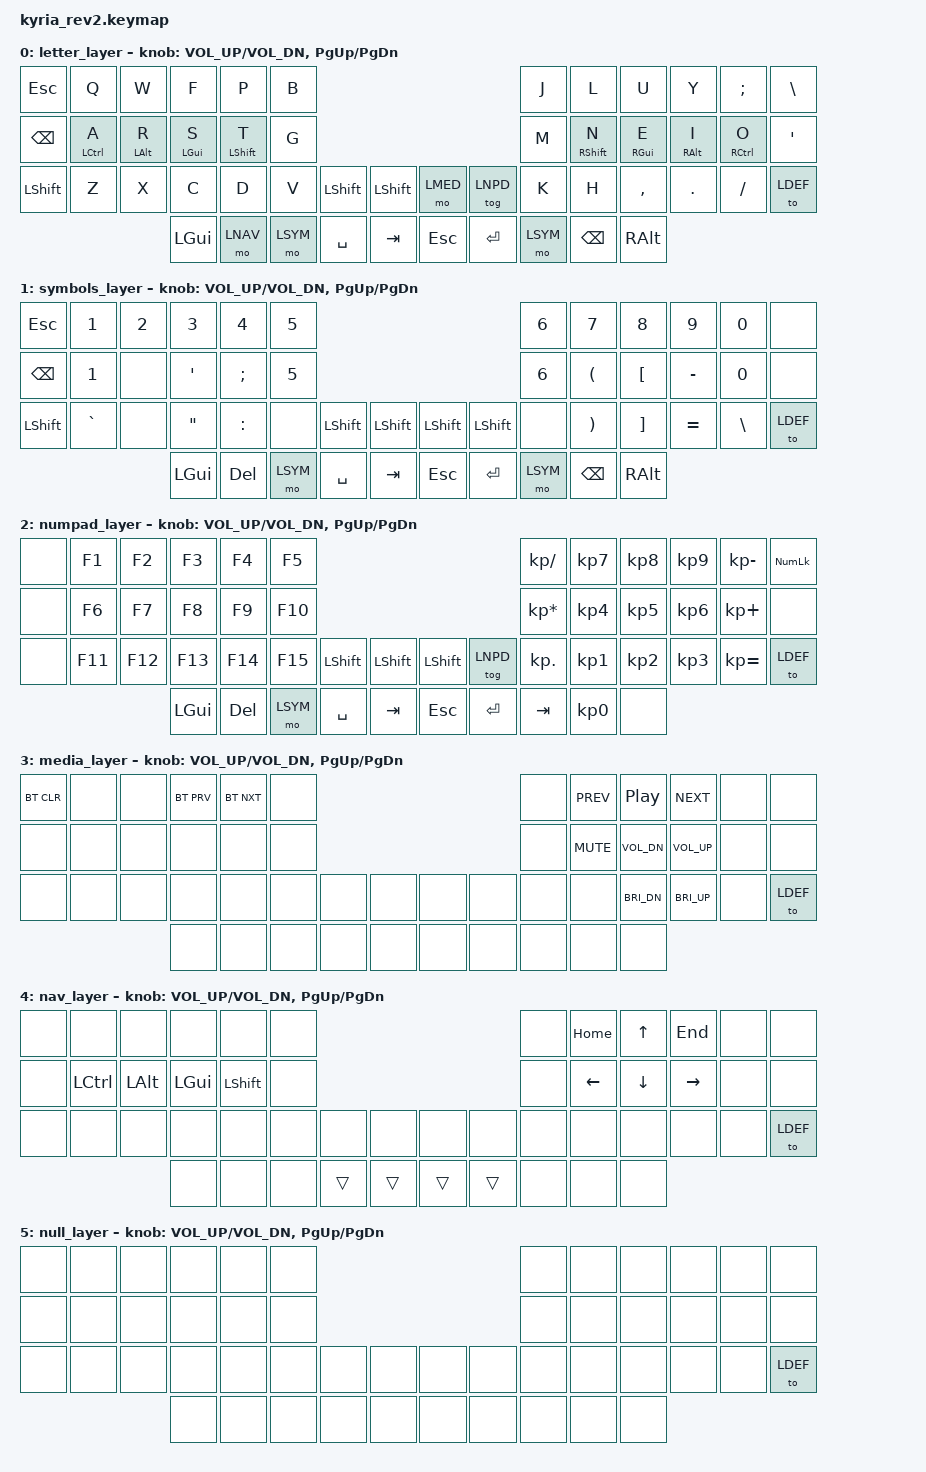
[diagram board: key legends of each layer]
/*
 * Copyright (c) 2020 The ZMK Contributors
 *
 * SPDX-License-Identifier: MIT
 */

#include <behaviors.dtsi>
#include <dt-bindings/zmk/keys.h>
#include <dt-bindings/zmk/bt.h>

#define LLTR 0
#define LSYM 1
#define LNPD 2
#define LMED 3
#define LNAV 4
#define LNUL 5

#define LDEF 0

/ {
    behaviors {
      hm: homerow-mod {
        compatible = "zmk,behavior-hold-tap";
        label = "HOMEROW_MOD";
        #binding-cells = <2>;
        tapping_term_ms = <150>; // <200>;
        quick_tap_ms = <0>;
        flavor = "tap-preferred"; // "balanced";
        bindings = <&kp>, <&kp>;
      };

//      moto: momentary-layer {
//        compatible = "zmk,behavior-hold-tap";
//        label = "LAYER_HOLD";
//        #binding-cells = <2>;
//        flavor = "hold-preferred";
//        tapping_term_ms = <150>; // <200>;
//        bindings = <&mo>, <&tog>;
//      };
    };

    keymap {
        compatible = "zmk,keymap";

        letter_layer {
// -------------------------------------------------------------------------------------------------------------------------------------------------------------------------------
// |  ESC    |  Q        |  W       |  F       |  P        |   B    |                                           |   J    |  L        |  L       |  Y       |   ;       |   \     |
// | BSPC    |  A/LCTRL  |  R/LALT  |  S/LGUI  |  T/LSHFT  |   G    |                                           |   M    |  N/RSHFT  |  E/RGUI  |  I/RALT  | O/RCTRL   |   '     |
// | SHIFT   |  Z        |  X       |  C       |  D        |   V    | L SHIFT | L SHIFT |   |  LMED  | LNPD     |   K    |  H        |  ,       |  .       |   /       | LDEF    |
//                                  | GUI      | DEL       |  LSYM  |  SPACE  |   TAB   |   |  ESC   | RET      |  LSYM  |  BSPC     |   R-ALT  |
            bindings = <
    &kp ESC   &kp Q       &kp W      &kp F      &kp P       &kp B                                                &kp J    &kp L       &kp U      &kp Y      &kp SEMI    &kp BSLH
    &kp BSPC  &hm LCTRL A &hm LALT R &hm LGUI S &hm LSHFT T &kp G                                                &kp M    &hm RSHFT N &hm RGUI E &hm RALT I &hm RCTRL O &kp SQT
    &kp LSHFT &kp Z       &kp X      &kp C      &kp D       &kp V    &kp LSHFT &kp LSHFT     &mo LMED &tog LNPD  &kp K    &kp H       &kp COMMA  &kp DOT    &kp FSLH    &to LDEF
                                     &kp LGUI   &mo LNAV    &mo LSYM &kp SPACE &kp TAB       &kp ESC  &kp RET    &mo LSYM &kp BSPC    &kp RALT
            >;

            sensor-bindings = <&inc_dec_kp C_VOL_UP C_VOL_DN &inc_dec_kp PG_UP PG_DN>;
        };

        symbols_layer {
// -----------------------------------------------------------------------------------------------------------------------------------------------------------
// |  ESC    |    1    |  2   |   3   |    4    |    5    |                                           |   6    |   7    |   8    |    9    |   0    |        |
// |  TAB    |    1    |      |   '   |    ;    |    5    |                                           |   6    |   (    |   [    |    -    |   0    |        |
// | SHIFT   |    `    |      |   "   |    :    |         | L SHIFT | L SHIFT |   | L SHIFT | L SHIFT |        |   )    |   ]    |    =    |   \    |  LDEF  |
//                            |  GUI  |   DEL   |  LSYM   |  SPACE  |   TAB   |   |   ESC   |  RET    |  LSYM  |  BSPC  | R-ALT  |
            bindings = <
    &kp ESC   &kp N1    &kp N2 &kp N3   &kp N4    &kp N5                                               &kp N6   &kp N7   &kp N8   &kp N9    &kp N0   &none
    &kp BSPC  &kp N1    &none  &kp SQT  &kp SEMI  &kp N5                                               &kp N6   &kp LPAR &kp LBKT &kp MINUS &kp N0   &none
    &kp LSHFT &kp GRAVE &none  &kp DQT  &kp COLON &none    &kp LSHFT &kp LSHFT     &kp LSHFT &kp LSHFT &none    &kp RPAR &kp RBKT &kp EQUAL &kp BSLH &to LDEF
                               &kp LGUI &kp DEL   &mo LSYM &kp SPACE &kp TAB       &kp ESC   &kp RET   &mo LSYM &kp BSPC &kp RALT
            >;

            sensor-bindings = <&inc_dec_kp C_VOL_UP C_VOL_DN &inc_dec_kp PG_UP PG_DN>;
        };

        numpad_layer {
// -------------------------------------------------------------------------------------------------------------------------------------------------------------------
// |     | F1    | F2    | F3     | F4    | F5     |                                           |  /            |    7    |    8    |    9    |     -      |   NLCK   |
// |     | F6    | F7    | F8     | F9    | F10    |                                           |  *            |    4    |    5    |    6    |     +      |          |
// |     | F11   | F12   | F13    | F14   | F15    | L SHIFT | L SHIFT |   | L SHIFT | LNPD    |  .            |    1    |    2    |    3    |     =      |   LDEF   |
//                       |        |       |        |  SPACE  |   TAB   |   |   ESC   |  RET    | LSYM          |    0    |         |
            bindings = <
    &none &kp F1  &kp F2  &kp F3   &kp F4  &kp F5                                               &kp KP_DIVIDE   &kp KP_N7 &kp KP_N8 &kp KP_N9 &kp KP_MINUS &kp KP_NUM
    &none &kp F6  &kp F7  &kp F8   &kp F9  &kp F10                                              &kp KP_MULTIPLY &kp KP_N4 &kp KP_N5 &kp KP_N6 &kp KP_PLUS  &none
    &none &kp F11 &kp F12 &kp F13  &kp F14 &kp F15  &kp LSHFT &kp LSHFT     &kp LSHFT &tog LNPD &kp KP_DOT      &kp KP_N1 &kp KP_N2 &kp KP_N3 &kp KP_EQUAL &to LDEF
                          &kp LGUI &kp DEL &mo LSYM &kp SPACE &kp TAB       &kp ESC   &kp RET   &kp TAB         &kp KP_N0 &none
            >;

            sensor-bindings = <&inc_dec_kp C_VOL_UP C_VOL_DN &inc_dec_kp PG_UP PG_DN>;
        };

        media_layer {
// ----------------------------------------------------------------------------------------------------------------------------------------------
// | BT_CLR   |     |     | BT_PRV   | BT_NXT   |     |                           |     |   Prev   | Play/Pause |   Next     |     |            |
// |          |     |     |          |          |     |                           |     |   MUTE   |   VOL_DN   |   VOL_UP   |     |            |
// |          |     |     |          |          |     |     |     |   |     |     |     |          | Bright. Up | Bright. Dn |     |    LDEF    |
//                        |          |          |     |     |     |   |     |     |     |          |            |
            bindings = <
    &bt BT_CLR &none &none &bt BT_PRV &bt BT_NXT &none                             &none &kp C_PREV &kp C_PP     &kp C_NEXT   &none &none
    &none      &none &none &none      &none      &none                             &none &kp C_MUTE &kp C_VOL_DN &kp C_VOL_UP &none &none
    &none      &none &none &none      &none      &none &none &none     &none &none &none &none      &kp C_BRI_DN &kp C_BRI_UP &none &to LDEF
                           &none      &none      &none &none &none     &none &none &none &none      &none
            >;

            sensor-bindings = <&inc_dec_kp C_VOL_UP C_VOL_DN &inc_dec_kp PG_UP PG_DN>;
        };

        nav_layer {
// ------------------------------------------------------------------------------------------------------------------------------------
// |     |         |        |        |         |     |                               |     |  HOME  |   UP   |   END   |     |        |
// |     |  LCTRL  |  LALT  |  LGUI  |  LSHFT  |     |                               |     |  LEFT  |  DOWN  |  RIGHT  |     |        |
// |     |         |        |        |         |     |      |      |   |      |      |     |        |        |         |     |  LDEF  |
//                          |        |         |     |      |      |   |      |      |     |        |        |
            bindings = <
    &none &none     &none    &none    &none     &none                                 &none &kp HOME &kp UP   &kp END   &none &none
    &none &kp LCTRL &kp LALT &kp LGUI &kp LSHFT &none                                 &none &kp LEFT &kp DOWN &kp RIGHT &none &none
    &none &none     &none    &none    &none     &none &none  &none      &none  &none  &none &none    &none    &none     &none &to LDEF
                             &none    &none     &none &trans &trans     &trans &trans &none &none    &none
            >;

            sensor-bindings = <&inc_dec_kp C_VOL_UP C_VOL_DN &inc_dec_kp PG_UP PG_DN>;
        };

        null_layer {
// --------------------------------------------------------------------------------------------------------
// |     |     |     |     |     |     |                           |     |     |     |     |     |        |
// |     |     |     |     |     |     |                           |     |     |     |     |     |        |
// |     |     |     |     |     |     |     |     |   |     |     |     |     |     |     |     |  LDEF  |
//                   |     |     |     |     |     |   |     |     |     |     |     |
            bindings = <
    &none &none &none &none &none &none                             &none &none &none &none &none &none
    &none &none &none &none &none &none                             &none &none &none &none &none &none
    &none &none &none &none &none &none &none &none     &none &none &none &none &none &none &none &to LDEF
                      &none &none &none &none &none     &none &none &none &none &none
            >;

            sensor-bindings = <&inc_dec_kp C_VOL_UP C_VOL_DN &inc_dec_kp PG_UP PG_DN>;
        };
    };
};
